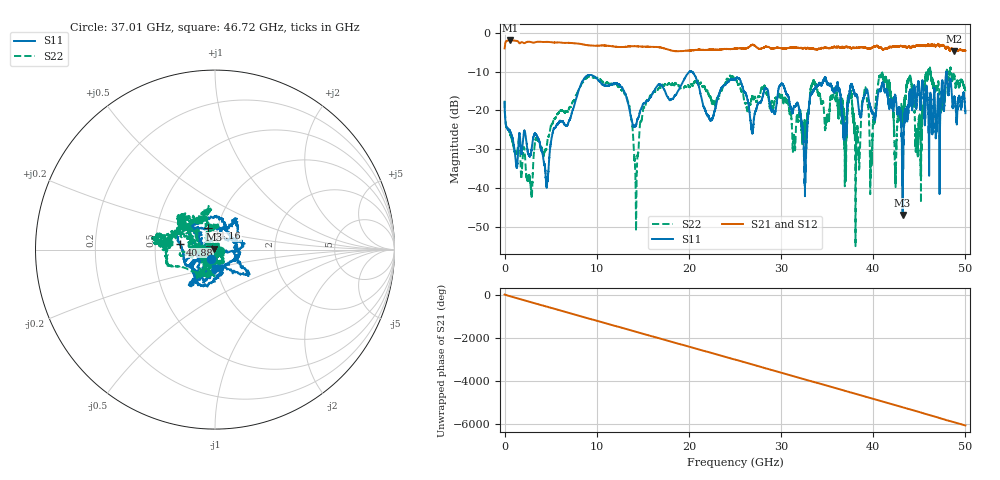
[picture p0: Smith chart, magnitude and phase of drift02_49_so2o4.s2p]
!Created with skrf (http://scikit-rf.org).
# Hz S RI R 50.0
!freq ReS11 ImS11 ReS21 ImS21 ReS12 ImS12 ReS22 ImS22
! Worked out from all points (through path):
!   10001 points, 300 kHz to 50 GHz, reference 50 ohm
!   highest |S21| = -2.00 dB at 610.3 MHz (marker M1); lowest = -4.8 dB at 48.76 GHz (marker M2)
!   group delay of S21, straight-line fit = 337 ps
!   lowest |S11| = -47.0 dB at 43.19 GHz (marker M3), VSWR 1.01, Z = 49.7 + j0.295 ohm
!   |S11| at or under -10 dB: start of sweep to 20.06 GHz; 20.20719 GHz to 20.22065 GHz (13.47 MHz wide, 0.0666 % of centre); 20.24 GHz to end of sweep (the widest 3 of 4)
!   |S22| runs from -55.0 to -8.9 dB; largest |S21 - S12| = 0.032
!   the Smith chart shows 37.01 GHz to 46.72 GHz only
!   S11 on the Smith chart (normalised r, x): 37.01 GHz: 0.95, -0.10; 40.88 GHz: 0.67, +0.04; 44.16 GHz: 0.90, +0.22; 46.72 GHz: 0.98, -0.20
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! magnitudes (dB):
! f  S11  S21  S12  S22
! 300 kHz  -17.9  -4.0  -4.0  -17.5
! 610.3 MHz  -25.5  -2.0  -2.0  -26.3
! 4.565 GHz  -39.8  -2.4  -2.4  -29.4
! 8.335 GHz  -13.0  -2.9  -2.9  -13.2
! 13.01 GHz  -15.3  -3.7  -3.6  -15.7
! 14.28 GHz  -23.8  -3.5  -3.5  -49.0
! 16.67 GHz  -13.4  -3.7  -3.7  -14.5
! 25 GHz  -12.1  -4.1  -4.1  -12.1
! 32.58 GHz  -38.2  -4.0  -4.0  -24.1
! 33.34 GHz  -15.7  -4.0  -4.0  -13.7
! 37.01 GHz  -25.2  -3.7  -3.6  -30.2
! 39.12 GHz  -15.9  -3.8  -3.8  -14.1
! 39.83 GHz  -20.1  -3.9  -3.9  -31.8
! 40.88 GHz  -14.1  -4.0  -4.0  -11.4
! 41.67 GHz  -18.5  -3.8  -3.9  -13.0
! 42.41 GHz  -16.6  -3.6  -3.7  -36.8
! 43.19 GHz  -47.0  -3.5  -3.6  -22.0
! 44.16 GHz  -18.1  -3.8  -3.9  -13.2
! 44.99 GHz  -14.6  -3.4  -3.3  -21.3
! 46.72 GHz  -19.9  -3.5  -3.4  -14.5
! 48.76 GHz  -16.8  -4.8  -4.8  -10.6
! 50 GHz  -20.7  -4.6  -4.6  -15.2
